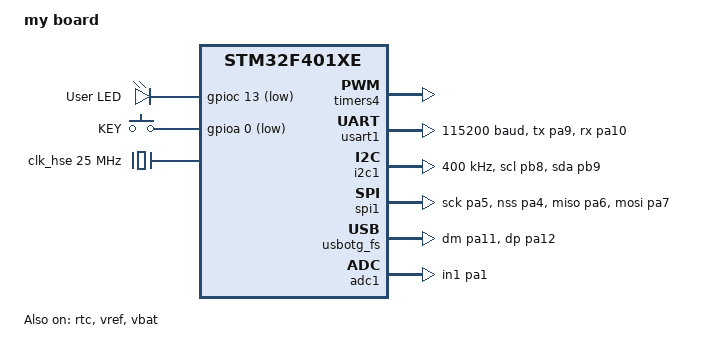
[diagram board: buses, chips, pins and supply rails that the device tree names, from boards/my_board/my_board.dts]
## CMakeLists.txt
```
cmake_minimum_required(VERSION 3.20.0)

# Expose the LED sensor driver module (drivers, binding, Kconfig).
list(APPEND ZEPHYR_EXTRA_MODULES ${CMAKE_CURRENT_SOURCE_DIR}/modules/led_sensor)

find_package(Zephyr REQUIRED)
project(my_zephyr_app)

target_sources(app PRIVATE src/main.cpp)
```

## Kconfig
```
mainmenu "App Configuration"

config APP_HEARTBEAT_PERIOD_MS
	int "LED heartbeat period (ms)"
	range 100 2000
	default 500
	help
	  Time in milliseconds the LED stays in each state (on/off)
	  between toggles.

source "Kconfig.zephyr"
```

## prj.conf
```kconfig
CONFIG_GPIO=y
CONFIG_LOG=y
CONFIG_SENSOR=y
CONFIG_OUR_DRIVER=y

# sensorroot shell command for manual driver poking.
CONFIG_OUR_DRIVER_SHELL=y
CONFIG_SHELL=y
CONFIG_SHELL_BACKEND_SERIAL=y
```

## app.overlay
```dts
/*
 * Alias app-led -> the board's led0 node.
 * On blackpill_f401ce, led0 is the user LED (PC13, active low) with label
 * "user_led". An alias can't point at another alias, so we reference the
 * node's label directly.
 */
/ {
	aliases {
		app-led = &user_led;
	};

	/*
	 * Instantiate the custom LED sensor driver on the board's user LED.
	 *
	 * "callibration" is a required binding property; it is fetched in the
	 * driver with DT_INST_PROP() and used as the number of writes per sample.
	 */
	led_sensor: led_sensor {
		compatible = "our,driver";
		gpios = <&gpioc 13 GPIO_ACTIVE_LOW>;
		callibration = <100>;
		label = "User LED";
		status = "okay";
	};
};
```

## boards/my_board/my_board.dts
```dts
/*
 * Copyright (c) 2020 Kalyan Sriram <coder.kalyan@gmail.com>
 *
 * SPDX-License-Identifier: Apache-2.0
 */

/dts-v1/;
#include <st/f4/stm32f401Xe.dtsi>
#include <st/f4/stm32f401c(d-e)ux-pinctrl.dtsi>
#include <zephyr/dt-bindings/input/input-event-codes.h>

/ {
	model = "my board";
	compatible = "weact,blackpill-f401ce";

	chosen {
		zephyr,console = &usart1;
		zephyr,shell-uart = &usart1;
		zephyr,sram = &sram0;
		zephyr,flash = &flash0;
	};

	leds {
		compatible = "gpio-leds";
		user_led: led {
			gpios = <&gpioc 13 GPIO_ACTIVE_LOW>;
			label = "User LED";
		};
	};

	gpio_keys {
		compatible = "gpio-keys";
		user_button: button {
			label = "KEY";
			gpios = <&gpioa 0 (GPIO_ACTIVE_LOW | GPIO_PULL_UP)>;
			zephyr,code = <INPUT_KEY_0>;
		};
	};

	aliases {
		led0 = &user_led;
		sw0 = &user_button;
		volt-sensor0 = &vref;
		volt-sensor1 = &vbat;
	};
};

&flash0 {

	partitions {
		compatible = "fixed-partitions";
		#address-cells = <1>;
		#size-cells = <1>;

		boot_partition: partition@0 {
			label = "mcuboot";
			reg = <0x00000000 DT_SIZE_K(32)>;
			read-only;
		};

		/*
		 * The flash starting at offset 0x00008000 and ending at
		 * offset 0x0001ffff (sectors 2 through 4) is reserved for
		 * use by the application.
		 */

		slot0_partition: partition@20000 {
			label = "image-0";
			reg = <0x00020000 DT_SIZE_K(128)>;
		};
		slot1_partition: partition@40000 {
			label = "image-1";
			reg = <0x00040000 DT_SIZE_K(128)>;
		};
		scratch_partition: partition@60000 {
			label = "image-scratch";
			reg = <0x00060000 DT_SIZE_K(128)>;
		};
	};
};

&timers4 {
	status = "okay";

	pwm4: pwm {
		status = "okay";
		pinctrl-0 = <&tim4_ch1_pb6 &tim4_ch2_pb7>;
		pinctrl-names = "default";
	};
};

&usart1 {
	pinctrl-0 = <&usart1_tx_pa9 &usart1_rx_pa10>;
	pinctrl-names = "default";
	status = "okay";
	current-speed = <115200>;
};

&i2c1 {
	pinctrl-0 = <&i2c1_scl_pb8 &i2c1_sda_pb9>;
	pinctrl-names = "default";
	status = "okay";
	clock-frequency = <I2C_BITRATE_FAST>;
};

&spi1 {
	pinctrl-0 = <&spi1_sck_pa5 &spi1_nss_pa4
		     &spi1_miso_pa6 &spi1_mosi_pa7>;
	pinctrl-names = "default";
	status = "okay";
};

&rtc {
	clocks = <&rcc STM32_CLOCK_BUS_APB1 0x10000000>,
		 <&rcc STM32_SRC_LSI RTC_SEL(2)>;
	status = "okay";
};

zephyr_udc0: &usbotg_fs {
	pinctrl-0 = <&usb_otg_fs_dm_pa11 &usb_otg_fs_dp_pa12>;
	pinctrl-names = "default";
	status = "okay";
};

&adc1 {
	pinctrl-0 = <&adc1_in1_pa1>;
	pinctrl-names = "default";
	st,adc-clock-source = "SYNC";
	st,adc-prescaler = <2>;
	status = "okay";
};

&clk_lsi {
	status = "okay";
};

&clk_hse {
	clock-frequency = <DT_FREQ_M(25)>;
	status = "okay";
};

&pll {
	div-m = <25>;
	mul-n = <336>;
	div-p = <4>;
	div-q = <7>;
	clocks = <&clk_hse>;
	status = "okay";
};

&rcc {
	clocks = <&pll>;
	clock-frequency = <DT_FREQ_M(84)>;
	ahb-prescaler = <1>;
	apb1-prescaler = <2>;
	apb2-prescaler = <1>;
};

&vref {
	status = "okay";
};

&vbat {
	status = "okay";
};
```

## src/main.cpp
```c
#include <errno.h>

#include <our_drivers/our_driver.h>
#include <zephyr/device.h>
#include <zephyr/drivers/sensor.h>
#include <zephyr/kernel.h>
#include <zephyr/logging/log.h>

/* Device handle stays generic: the driver is picked from the devicetree. */
static const struct device *const led_sensor = DEVICE_DT_GET_ANY(our_driver);

LOG_MODULE_REGISTER(main, LOG_LEVEL_INF);

/* Report the errors that do not stop the heartbeat. */
static void log_err(const char *what, int err)
{
	LOG_ERR("%s failed (%d)", what, err);
}

int main(void)
{
	struct sensor_value level = {0};
	struct sensor_value count = {0};
	int ret;

	if (!device_is_ready(led_sensor)) {
		LOG_ERR("LED sensor device not ready");
		return 0;
	}

	while (1) {
		/*
		 * Task 2: flip the LED through the custom extension API. The
		 * driver owns the state and the toggle counter, so the
		 * application keeps no copy of its own.
		 */
		ret = our_driver_toggle(led_sensor);
		if (ret < 0) {
			log_err("toggle", ret);
		}

		/* Task 1: sample the pin, then read the channel. */
		ret = sensor_sample_fetch(led_sensor);
		if (ret < 0) {
			log_err("sample_fetch", ret);
		}

		if (sensor_channel_get(led_sensor, SENSOR_CHAN_PROX, &level) < 0) {
			log_err("channel_get(PROX)", ret);
		}

		ret = sensor_channel_get(led_sensor, (enum sensor_channel)OUR_DRIVER_CHAN_TOGGLE_COUNT,
					 &count);
		if (ret < 0) {
			log_err("channel_get(TOGGLE_COUNT)", ret);
		}

		LOG_INF("LED state: %s (level=%d, toggles=%d)", level.val1 ? "ON" : "OFF",
			level.val1, count.val1);

		k_msleep(CONFIG_APP_HEARTBEAT_PERIOD_MS);
	}

	return 0;
}
```
